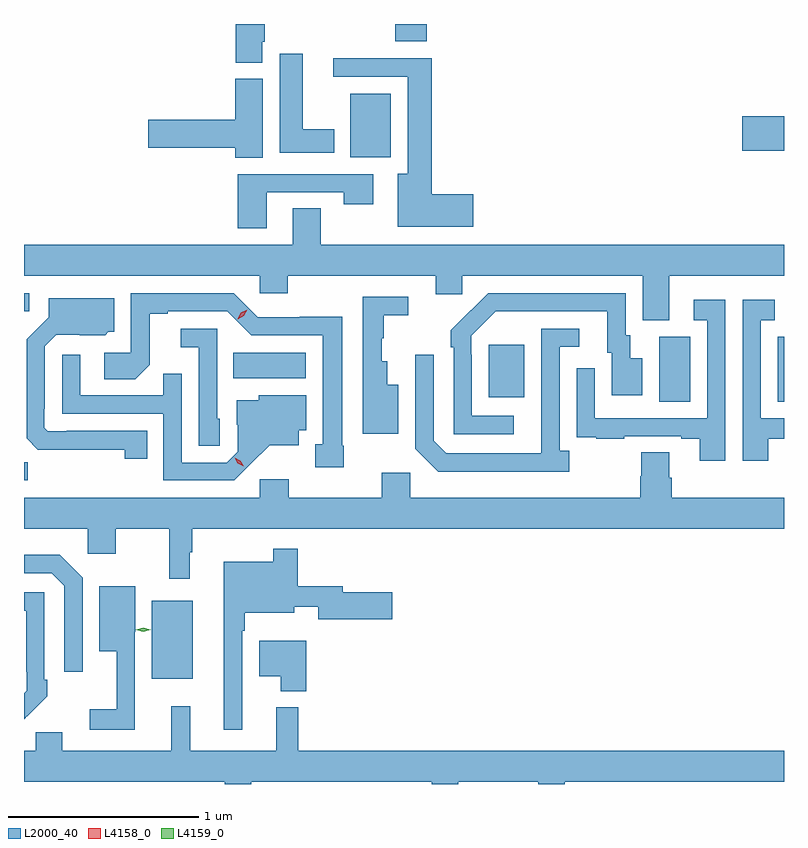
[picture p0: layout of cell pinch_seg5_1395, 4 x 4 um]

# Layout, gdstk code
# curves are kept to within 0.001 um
import gdstk
lib = gdstk.Library(unit=1e-6, precision=1e-09)
def R(c, l, rs):  # rectangles x0, y0, x1, y1
    for r in rs: c.add(gdstk.rectangle(r[:2], r[2:], *l))
def P(c, l, *ps):  # polygons
    for p in ps: c.add(gdstk.Polygon(p, *l))
L2000_40 = (2000, 40)
L4158_0 = (4158, 0)
L4159_0 = (4159, 0)

pinch_seg5_1395 = lib.new_cell('pinch_seg5_1395')
R(pinch_seg5_1395, L2000_40, [(123.62,905.255,123.835,905.665), (122.947,906.3,122.967,906.395), (126.29,906.712,126.454,907.056), (126.914,906.712,126.947,907.056), (125.393,906.737,125.581,907.012), (124.048,906.836,124.429,906.97), (122.947,907.188,122.974,907.284), (124.664,908,124.876,908.335), (126.726,908.033,126.947,908.216), (124.901,908.609,125.066,908.701)])
P(pinch_seg5_1395, L2000_40, [(124.201,908.607),(124.214,908.607),(124.214,908.701),(124.061,908.701),(124.061,908.497),(124.201,908.497)],
  [(124.579,908.146),(124.414,908.146),(124.414,908.545),(124.292,908.545),(124.292,908.024),(124.579,908.024)],
  [(125.311,907.805),(125.093,907.805),(125.093,908.522),(124.575,908.522),(124.575,908.424),(124.967,908.424),(124.967,907.912),(124.913,907.912),(124.913,907.634),(125.311,907.634)],
  [(124.204,908.412),(124.058,908.412),(124.058,908.198),(123.6,908.198),(123.6,908.051),(124.058,908.051),(124.058,907.996),(124.204,907.996)],
  [(124.225,907.815),(124.63,907.815),(124.63,907.752),(124.786,907.752),(124.786,907.911),(124.073,907.911),(124.073,907.626),(124.225,907.626)],
  [(126.343,907.376),(126.947,907.376),(126.947,907.54),(124.509,907.54),(124.509,907.73),(124.361,907.73),(124.361,907.54),(122.947,907.54),(122.947,907.376),(124.188,907.376),(124.188,907.283),(124.335,907.283),(124.335,907.376),(125.114,907.376),(125.114,907.278),(125.253,907.278),(125.253,907.376),(126.203,907.376),(126.203,907.141),(126.343,907.141)],
  [(125.524,906.639),(125.304,906.639),(125.304,906.959),(125.301,906.959),(125.301,907.059),(125.43,907.188),(126.017,907.188),(126.017,906.972),(126.041,906.972),(126.041,906.747),(126.202,906.747),(126.202,906.943),(126.139,906.943),(126.139,907.062),(126.114,907.062),(126.114,907.284),(125.39,907.284),(125.193,907.089),(125.193,907.001),(125.208,907.001),(125.208,906.543),(125.524,906.543)],
  [(124.631,906.481),(124.621,906.481),(124.621,907.16),(124.398,907.16),(124.398,907.158),(124.176,907.158),(124.05,907.284),(123.51,907.284),(123.51,906.972),(123.369,906.972),(123.369,906.832),(123.533,906.832),(123.609,906.908),(123.609,907.176),(123.703,907.176),(123.703,907.188),(124.017,907.188),(124.143,907.062),(124.52,907.062),(124.52,906.489),(124.481,906.489),(124.481,906.369),(124.631,906.369)],
  [(124.918,906.802),(124.858,906.802),(124.858,906.925),(124.829,906.925),(124.829,907.047),(124.84,907.047),(124.84,907.168),(124.969,907.168),(124.969,907.266),(124.731,907.266),(124.731,906.798),(124.73,906.798),(124.73,906.545),(124.918,906.545)],
  [(123.596,906.561),(123.172,906.561),(123.172,906.558),(123.072,906.558),(123.054,906.576),(123.054,906.676),(123.057,906.676),(123.057,907.005),(123.117,907.065),(123.374,907.064),(123.39,907.08),(123.421,907.08),(123.421,907.258),(123.077,907.258),(123.077,907.158),(122.961,907.042),(122.961,906.52),(123.02,906.461),(123.478,906.46),(123.478,906.414),(123.596,906.414)],
  [(126.865,906.519),(126.947,906.519),(126.947,906.627),(126.825,906.627),(126.825,907.143),(126.898,907.143),(126.898,907.249),(126.729,907.249),(126.729,906.402),(126.865,906.402)],
  [(126.639,907.249),(126.471,907.249),(126.471,907.143),(126.543,907.143),(126.543,906.627),(125.952,906.627),(125.952,906.889),(125.856,906.889),(125.856,906.634),(125.857,906.634),(125.857,906.525),(125.959,906.525),(125.959,906.519),(126.107,906.519),(126.107,906.531),(126.407,906.531),(126.407,906.519),(126.503,906.519),(126.503,906.402),(126.639,906.402)],
  [(125.818,906.454),(125.766,906.454),(125.766,907.002),(125.869,907.002),(125.869,907.098),(125.67,907.098),(125.669,906.441),(125.169,906.441),(125.103,906.507),(125.103,906.961),(125.007,906.961),(125.007,906.465),(125.128,906.344),(125.818,906.344)],
  [(123.978,906.624),(123.963,906.624),(123.963,907.098),(123.771,907.098),(123.771,907.001),(123.867,907.001),(123.867,906.481),(123.978,906.481)],
  [(124.138,906.383),(124.241,906.485),(124.393,906.485),(124.393,906.564),(124.432,906.564),(124.432,906.748),(124.182,906.748),(124.182,906.721),(124.067,906.721),(124.067,906.592),(124.071,906.592),(124.071,906.45),(124.014,906.393),(123.777,906.393),(123.777,906.86),(123.679,906.86),(123.679,906.747),(123.243,906.747),(123.243,906.961),(123.147,906.961),(123.147,906.651),(123.681,906.651),(123.681,906.3),(124.054,906.3)],
  [(123.82,905.921),(123.832,905.921),(123.832,906.044),(126.947,906.044),(126.947,906.208),(126.356,906.208),(126.356,906.314),(126.343,906.314),(126.343,906.446),(126.196,906.446),(126.196,906.321),(126.191,906.321),(126.191,906.208),(124.98,906.208),(124.98,906.34),(124.829,906.34),(124.829,906.208),(124.34,906.208),(124.34,906.304),(124.188,906.304),(124.188,906.208),(122.947,906.208),(122.947,906.044),(123.282,906.044),(123.282,905.913),(123.429,905.913),(123.429,906.044),(123.711,906.044),(123.711,905.781),(123.82,905.781)],
  [(124.095,905.507),(124.108,905.507),(124.108,905.603),(124.369,905.603),(124.369,905.633),(124.496,905.633),(124.496,905.567),(124.885,905.567),(124.885,905.709),(124.624,905.709),(124.624,905.743),(124.388,905.743),(124.388,905.938),(124.26,905.938),(124.26,905.872),(123.998,905.872),(123.998,904.986),(124.095,904.986)],
  [(123.255,905.787),(123.134,905.908),(122.947,905.908),(122.947,905.811),(123.093,905.811),(123.159,905.745),(123.159,905.292),(123.255,905.292)],
  [(123.531,905.503),(123.532,905.503),(123.532,905.743),(123.344,905.743),(123.344,905.399),(123.434,905.399),(123.434,905.095),(123.294,905.095),(123.294,904.986),(123.531,904.986)],
  [(122.963,905.059),(122.964,905.058),(123.069,905.163),(123.069,905.251),(123.054,905.251),(123.054,905.709),(122.947,905.709),(122.947,905.613),(122.958,905.613),(122.958,905.293),(122.961,905.293),(122.961,905.193),(122.947,905.179),(122.947,905.043)],
  [(124.433,905.455),(124.184,905.455),(124.184,905.267),(124.298,905.267),(124.298,905.189),(124.433,905.189)],
  [(124.143,904.712),(125.093,904.712),(125.093,904.701),(125.233,904.701),(125.233,904.712),(125.654,904.712),(125.654,904.701),(125.794,904.701),(125.794,904.712),(126.947,904.712),(126.947,904.876),(124.391,904.876),(124.391,905.104),(124.274,905.104),(124.274,904.876),(123.821,904.876),(123.821,905.11),(123.722,905.11),(123.722,904.876),(123.148,904.876),(123.148,904.974),(123.009,904.974),(123.009,904.876),(122.947,904.876),(122.947,904.712),(124.004,904.712),(124.004,904.701),(124.143,904.701)])
P(pinch_seg5_1395, L4158_0, [(124.072,907.147),(124.072,907.147),(124.089,907.18),(124.121,907.198),(124.121,907.198),(124.121,907.198),(124.104,907.166),(124.072,907.147)],
  [(124.104,906.373),(124.073,906.388),(124.055,906.417),(124.055,906.418),(124.055,906.418),(124.086,906.403),(124.104,906.373),(124.104,906.373)])
P(pinch_seg5_1395, L4159_0, [(123.575,905.503),(123.536,905.514),(123.536,905.514),(123.536,905.514),(123.575,905.523),(123.614,905.513),(123.615,905.513),(123.614,905.512)])

lib.write_gds('pinch_seg5_1395.gds')
